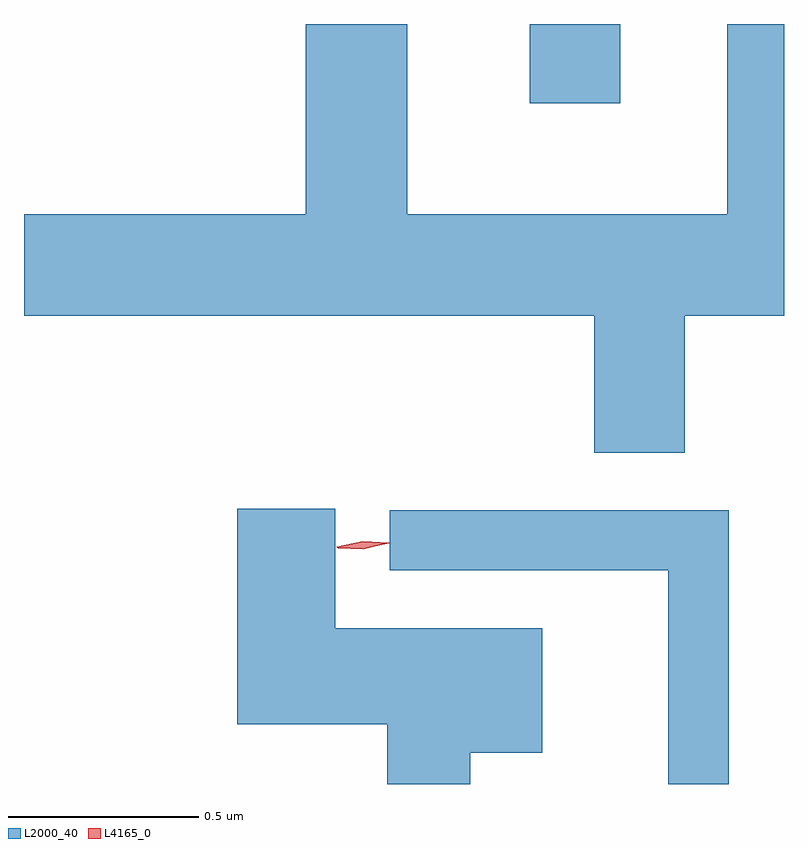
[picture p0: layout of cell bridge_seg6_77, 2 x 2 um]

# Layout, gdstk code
import gdstk
lib = gdstk.Library(unit=1e-6, precision=1e-09)
def R(c, l, rs):  # rectangles x0, y0, x1, y1
    for r in rs: c.add(gdstk.rectangle(r[:2], r[2:], *l))
def P(c, l, *ps):  # polygons
    for p in ps: c.add(gdstk.Polygon(p, *l))
L2000_40 = (2000, 40)
L4165_0 = (4165, 0)

bridge_seg6_77 = lib.new_cell('bridge_seg6_77')
R(bridge_seg6_77, L2000_40, [(1314.566,1666.036,1314.804,1666.244)])
P(bridge_seg6_77, L2000_40, [(1314.974,1665.476),(1315.235,1665.476),(1315.235,1666.244),(1315.086,1666.244),(1315.086,1665.744),(1314.244,1665.744),(1314.244,1666.244),(1313.976,1666.244),(1313.976,1665.744),(1313.235,1665.744),(1313.235,1665.476),(1314.736,1665.476),(1314.736,1665.116),(1314.974,1665.116)],
  [(1314.409,1664.326),(1314.599,1664.326),(1314.599,1664.654),(1314.054,1664.654),(1314.054,1664.969),(1313.796,1664.969),(1313.796,1664.401),(1314.191,1664.401),(1314.191,1664.244),(1314.409,1664.244)],
  [(1315.089,1664.964),(1314.198,1664.964),(1314.198,1664.806),(1314.931,1664.806),(1314.931,1664.244),(1315.089,1664.244)])
P(bridge_seg6_77, L4165_0, [(1314.128,1664.863),(1314.058,1664.867),(1314.058,1664.868),(1314.058,1664.868),(1314.126,1664.883),(1314.196,1664.879),(1314.196,1664.879),(1314.196,1664.878)],
  [(1314.128,1664.862),(1314.061,1664.865),(1314.061,1664.865),(1314.061,1664.866),(1314.126,1664.881),(1314.192,1664.878),(1314.193,1664.878),(1314.192,1664.877)])

lib.write_gds('bridge_seg6_77.gds')
